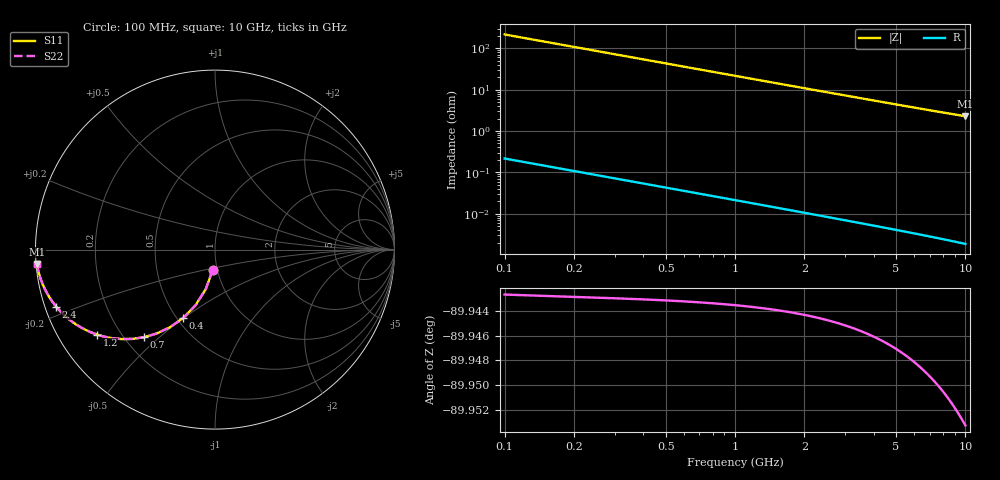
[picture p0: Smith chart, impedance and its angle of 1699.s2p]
# Hz S RI R 50.00
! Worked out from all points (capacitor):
!   100 points, 100 MHz to 10 GHz, reference 50 ohm
!   read as one part in shunt: C = 7.38 pF near 100 MHz
!   lowest |Z| = 2.28 ohm at 10 GHz (marker M1)
!   S11 on the Smith chart (normalised r, x): 100 MHz: 0.95, -0.22; 400 MHz: 0.54, -0.50; 700 MHz: 0.28, -0.45; 1.2 GHz: 0.12, -0.32; 2.4 GHz: 0.03, -0.17; 10 GHz: 0.00, -0.04
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1e8  -0.0133 -0.1143  0.9866 -0.1144  0.9866 -0.1144  -0.0133 -0.1143
2e8  -0.0511 -0.2197  0.9488 -0.2199  0.9488 -0.2199  -0.0511 -0.2197
3e8  -0.108 -0.3098  0.892 -0.3101  0.892 -0.3101  -0.108 -0.3098
4e8  -0.177 -0.381  0.823 -0.3814  0.823 -0.3814  -0.177 -0.381
5e8  -0.2514 -0.4331  0.7486 -0.4336  0.7486 -0.4336  -0.2514 -0.4331
6e8  -0.3258 -0.4679  0.6741 -0.4685  0.6741 -0.4685  -0.3258 -0.4679
7e8  -0.3967 -0.4884  0.6033 -0.4891  0.6033 -0.4891  -0.3967 -0.4884
9e8  -0.5206 -0.4986  0.4794 -0.4995  0.4794 -0.4995  -0.5206 -0.4986
1e9  -0.5727 -0.4937  0.4273 -0.4947  0.4273 -0.4947  -0.5727 -0.4937
1.2e9  -0.6585 -0.4731  0.3415 -0.4743  0.3415 -0.4743  -0.6585 -0.4731
1.3e9  -0.6935 -0.4599  0.3065 -0.4612  0.3065 -0.4612  -0.6935 -0.4599
1.5e9  -0.7506 -0.4314  0.2494 -0.4329  0.2494 -0.4329  -0.7506 -0.4314
1.8e9  -0.8124 -0.389  0.1876 -0.3908  0.1876 -0.3908  -0.8124 -0.389
2.1e9  -0.8548 -0.3507  0.1452 -0.3529  0.1452 -0.3529  -0.8548 -0.3507
2.4e9  -0.8848 -0.3175  0.1151 -0.32  0.1151 -0.32  -0.8848 -0.3175
2.9e9  -0.918 -0.2722  0.0819 -0.2753  0.0819 -0.2753  -0.918 -0.2722
3.4e9  -0.9389 -0.2371  0.061 -0.2407  0.061 -0.2407  -0.9389 -0.2371
4.2e9  -0.9591 -0.1953  0.0409 -0.1998  0.0409 -0.1998  -0.9591 -0.1953
5.1e9  -0.9719 -0.1621  0.0281 -0.1675  0.0281 -0.1675  -0.9719 -0.1621
6.7e9  -0.9835 -0.1231  0.0164 -0.1303  0.0164 -0.1303  -0.9835 -0.1231
8.4e9  -0.9895 -0.0968  0.0104 -0.1059  0.0104 -0.1059  -0.9895 -0.0968
1e10  -0.9926 -0.0795  0.00731 -0.0904  0.00731 -0.0904  -0.9926 -0.0795
